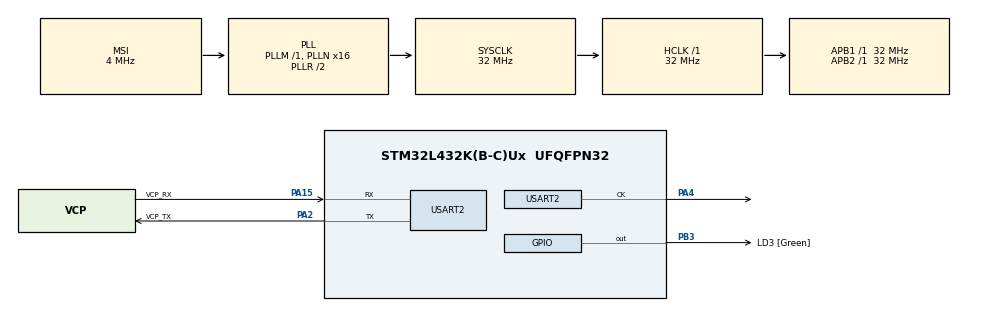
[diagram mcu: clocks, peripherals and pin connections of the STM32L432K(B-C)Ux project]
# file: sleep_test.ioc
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Mcu.Family=STM32L4
Mcu.Name=STM32L432K(B-C)Ux
Mcu.Package=UFQFPN32
NVIC.PriorityGroup=NVIC_PRIORITYGROUP_4
NVIC.RCC_IRQn=true\:0\:0\:false\:false\:true\:true\:false\:true
NVIC.RTC_WKUP_IRQn=true\:0\:0\:false\:false\:true\:true\:true\:true
NVIC.USART2_IRQn=true\:0\:0\:false\:false\:true\:true\:true\:true
PA0.Mode=HSE-External-Clock-Source-for-LittleOrca
PA0.Signal=RCC_CK_IN
PA13\ (JTMS-SWDIO).GPIO_Label=SWDIO
PA13\ (JTMS-SWDIO).Mode=Serial_Wire
PA13\ (JTMS-SWDIO).Signal=SYS_JTMS-SWDIO
PA14\ (JTCK-SWCLK).GPIO_Label=SWCLK
PA14\ (JTCK-SWCLK).Mode=Serial_Wire
PA14\ (JTCK-SWCLK).Signal=SYS_JTCK-SWCLK
PA15\ (JTDI).GPIO_Label=VCP_RX
PA15\ (JTDI).Mode=Synchronous
PA15\ (JTDI).Signal=USART2_RX
PA2.GPIO_Label=VCP_TX
PA2.Mode=Synchronous
PA2.Signal=USART2_TX
PA4.Mode=Synchronous
PA4.Signal=USART2_CK
PB3\ (JTDO-TRACESWO).GPIO_Label=LD3 [Green]
PB3\ (JTDO-TRACESWO).Signal=GPIO_Output
PC14-OSC32_IN\ (PC14).Mode=LSE-External-Oscillator
PC14-OSC32_IN\ (PC14).Signal=RCC_OSC32_IN
PC15-OSC32_OUT\ (PC15).Mode=LSE-External-Oscillator
PC15-OSC32_OUT\ (PC15).Signal=RCC_OSC32_OUT
ProjectManager.HeapSize=0x200
ProjectManager.StackSize=0x400
ProjectManager.TargetToolchain=STM32CubeIDE
RCC.AHBFreq_Value=32000000
RCC.APB1Freq_Value=32000000
RCC.APB1TimFreq_Value=32000000
RCC.APB2Freq_Value=32000000
RCC.APB2TimFreq_Value=32000000
RCC.CortexFreq_Value=32000000
RCC.HCLKFreq_Value=32000000
RCC.HSE_VALUE=8000000
RCC.HSI16_VALUE=16000000
RCC.HSI48_VALUE=48000000
RCC.HSI_VALUE=16000000
RCC.MSI_VALUE=4000000
RCC.PLLMUL=RCC_PLLMUL_4
RCC.PLLN=16
RCC.SYSCLKFreq_VALUE=32000000
RCC.SYSCLKSource=RCC_SYSCLKSOURCE_PLLCLK
RCC.VCOOutputFreq_Value=64000000
USART2.VirtualMode-Synchronous=VM_SYNC
VP_RTC_VS_RTC_Activate.Mode=RTC_Enabled
VP_RTC_VS_RTC_WakeUp_intern.Mode=WakeUp
board=NUCLEO-L432KC

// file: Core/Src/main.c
/* USER CODE BEGIN Header */
/**
  ******************************************************************************
  * @file           : main.c
  * @brief          : Main program body
  ******************************************************************************
  * @attention
  *
  * Copyright (c) 2024 STMicroelectronics.
  * All rights reserved.
  *
  * This software is licensed under terms that can be found in the LICENSE file
  * in the root directory of this software component.
  * If no LICENSE file comes with this software, it is provided AS-IS.
  *
  ******************************************************************************
  */
/* USER CODE END Header */
#include "main.h"
#include <string.h>
#include <stdio.h>

RTC_HandleTypeDef hrtc;

USART_HandleTypeDef husart2;

void SystemClock_Config(void);
static void MX_GPIO_Init(void);
static void MX_USART2_Init(void);
static void MX_RTC_Init(void);

int main(void)
{

  /* MCU Configuration--------------------------------------------------------*/

  /* Reset of all peripherals, Initializes the Flash interface and the Systick. */
  HAL_Init();

  /* Configure the system clock */
  SystemClock_Config();

  /* Initialize all configured peripherals */
  MX_GPIO_Init();
  MX_USART2_Init();
  MX_RTC_Init();

  /* Infinite loop */
  /* USER CODE BEGIN WHILE */

  char test[20];
  sprintf(test, "Hello. Testing Stanby Mode!\r\n");

  HAL_USART_Transmit(&husart2, (uint8_t*)test, strlen(test), 1000);

  if(__HAL_PWR_GET_FLAG(PWR_FLAG_SB) != RESET)
  {
	  __HAL_PWR_CLEAR_FLAG(PWR_FLAG_SB); // clear flag
	  char *str = "Wake up from STANDBY MODE\r\n";
	  HAL_USART_Transmit(&husart2, (uint8_t *)str, strlen(str), HAL_MAX_DELAY);

	  // Blink LED
	  for(int i = 0; i<20; i++)
	  {
		  	  HAL_GPIO_TogglePin(GPIOB,GPIO_PIN_3);
		  	  HAL_Delay(200);
	  }

	  // Disable Wake up Pin
	  HAL_PWR_DisableWakeUpPin(PWR_WAKEUP_PIN1);

	  //Deactivate RTC Wake up
	  __HAL_RTC_WAKEUPTIMER_CLEAR_FLAG(&hrtc, RTC_ISR_WUTF);
  }

  // Enter standby mode
  // Clear WU flag
  __HAL_PWR_CLEAR_FLAG(PWR_FLAG_WU);

  char *str = "About to enter STANDBY MODE\r\n";
  HAL_USART_Transmit(&husart2, (uint8_t *)str, strlen(str), HAL_MAX_DELAY);

  // Blink LED
  for(int i = 0; i<5; i++)
  {
	  HAL_GPIO_TogglePin(GPIOB,GPIO_PIN_3);
  	  HAL_Delay(750);
  }

  // Disable Wake up Pin
  HAL_PWR_EnableWakeUpPin(PWR_WAKEUP_PIN1);

  /*  RTC Wake-up Interrupt Generation:
        Wake-up Time Base = (RTC_WAKEUPCLOCK_RTCCLK_DIV /(LSI))
        ==> WakeUpCounter = Wake-up Time / Wake-up Time Base

        To configure the wake up timer to 5s the WakeUpCounter is set to 0x2710:
        RTC_WAKEUPCLOCK_RTCCLK_DIV = RTCCLK_Div16 = 16
        Wake-up Time Base = 16 /(32KHz) = 0.0005 seconds
        ==> WakeUpCounter = ~ 30s/0.0005s = 60000 = 0xEA60
      */

  if(HAL_RTCEx_SetWakeUpTimer_IT(&hrtc, 0xEA60, RTC_WAKEUPCLOCK_RTCCLK_DIV16) != HAL_OK)
  {
	  Error_Handler();
  }

  char *str2 = "STANDBY MODE is on\r\n";
  HAL_USART_Transmit(&husart2, (uint8_t *)str2, strlen(str2), HAL_MAX_DELAY);
  HAL_PWR_EnterSTANDBYMode();

  while (1)
  {
    /* USER CODE END WHILE */

  }
}

void SystemClock_Config(void)
{
  RCC_OscInitTypeDef RCC_OscInitStruct = {0};
  RCC_ClkInitTypeDef RCC_ClkInitStruct = {0};

  /** Configure the main internal regulator output voltage
  */
  if (HAL_PWREx_ControlVoltageScaling(PWR_REGULATOR_VOLTAGE_SCALE1) != HAL_OK)
  {
    Error_Handler();
  }

  /** Configure LSE Drive Capability
  */
  HAL_PWR_EnableBkUpAccess();
  __HAL_RCC_LSEDRIVE_CONFIG(RCC_LSEDRIVE_LOW);

  /** Initializes the RCC Oscillators according to the specified parameters
  * in the RCC_OscInitTypeDef structure.
  */
  RCC_OscInitStruct.OscillatorType = RCC_OSCILLATORTYPE_LSI|RCC_OSCILLATORTYPE_LSE
                              |RCC_OSCILLATORTYPE_MSI;
  RCC_OscInitStruct.LSEState = RCC_LSE_ON;
  RCC_OscInitStruct.LSIState = RCC_LSI_ON;
  RCC_OscInitStruct.MSIState = RCC_MSI_ON;
  RCC_OscInitStruct.MSICalibrationValue = 0;
  RCC_OscInitStruct.MSIClockRange = RCC_MSIRANGE_6;
  RCC_OscInitStruct.PLL.PLLState = RCC_PLL_ON;
  RCC_OscInitStruct.PLL.PLLSource = RCC_PLLSOURCE_MSI;
  RCC_OscInitStruct.PLL.PLLM = 1;
  RCC_OscInitStruct.PLL.PLLN = 16;
  RCC_OscInitStruct.PLL.PLLP = RCC_PLLP_DIV7;
  RCC_OscInitStruct.PLL.PLLQ = RCC_PLLQ_DIV2;
  RCC_OscInitStruct.PLL.PLLR = RCC_PLLR_DIV2;
  if (HAL_RCC_OscConfig(&RCC_OscInitStruct) != HAL_OK)
  {
    Error_Handler();
  }

  /** Initializes the CPU, AHB and APB buses clocks
  */
  RCC_ClkInitStruct.ClockType = RCC_CLOCKTYPE_HCLK|RCC_CLOCKTYPE_SYSCLK
                              |RCC_CLOCKTYPE_PCLK1|RCC_CLOCKTYPE_PCLK2;
  RCC_ClkInitStruct.SYSCLKSource = RCC_SYSCLKSOURCE_PLLCLK;
  RCC_ClkInitStruct.AHBCLKDivider = RCC_SYSCLK_DIV1;
  RCC_ClkInitStruct.APB1CLKDivider = RCC_HCLK_DIV1;
  RCC_ClkInitStruct.APB2CLKDivider = RCC_HCLK_DIV1;

  if (HAL_RCC_ClockConfig(&RCC_ClkInitStruct, FLASH_LATENCY_1) != HAL_OK)
  {
    Error_Handler();
  }

  /** Enable MSI Auto calibration
  */
  HAL_RCCEx_EnableMSIPLLMode();
}

static void MX_RTC_Init(void)
{

  /** Initialize RTC Only
  */
  hrtc.Instance = RTC;
  hrtc.Init.HourFormat = RTC_HOURFORMAT_24;
  hrtc.Init.AsynchPrediv = 127;
  hrtc.Init.SynchPrediv = 255;
  hrtc.Init.OutPut = RTC_OUTPUT_DISABLE;
  hrtc.Init.OutPutRemap = RTC_OUTPUT_REMAP_NONE;
  hrtc.Init.OutPutPolarity = RTC_OUTPUT_POLARITY_HIGH;
  hrtc.Init.OutPutType = RTC_OUTPUT_TYPE_OPENDRAIN;
  if (HAL_RTC_Init(&hrtc) != HAL_OK)
  {
    Error_Handler();
  }

}

static void MX_USART2_Init(void)
{

  husart2.Instance = USART2;
  husart2.Init.BaudRate = 115200;
  husart2.Init.WordLength = USART_WORDLENGTH_8B;
  husart2.Init.StopBits = USART_STOPBITS_1;
  husart2.Init.Parity = USART_PARITY_NONE;
  husart2.Init.Mode = USART_MODE_TX_RX;
  husart2.Init.CLKPolarity = USART_POLARITY_LOW;
  husart2.Init.CLKPhase = USART_PHASE_1EDGE;
  husart2.Init.CLKLastBit = USART_LASTBIT_DISABLE;
  if (HAL_USART_Init(&husart2) != HAL_OK)
  {
    Error_Handler();
  }

}

static void MX_GPIO_Init(void)
{
  GPIO_InitTypeDef GPIO_InitStruct = {0};

  /* GPIO Ports Clock Enable */
  __HAL_RCC_GPIOC_CLK_ENABLE();
  __HAL_RCC_GPIOA_CLK_ENABLE();
  __HAL_RCC_GPIOB_CLK_ENABLE();

  /*Configure GPIO pin Output Level */
  HAL_GPIO_WritePin(LD3_GPIO_Port, LD3_Pin, GPIO_PIN_RESET);

  /*Configure GPIO pin : LD3_Pin */
  GPIO_InitStruct.Pin = LD3_Pin;
  GPIO_InitStruct.Mode = GPIO_MODE_OUTPUT_PP;
  GPIO_InitStruct.Pull = GPIO_NOPULL;
  GPIO_InitStruct.Speed = GPIO_SPEED_FREQ_LOW;
  HAL_GPIO_Init(LD3_GPIO_Port, &GPIO_InitStruct);

}

void Error_Handler(void)
{
  __disable_irq();
  while (1)
  {
  }
}
